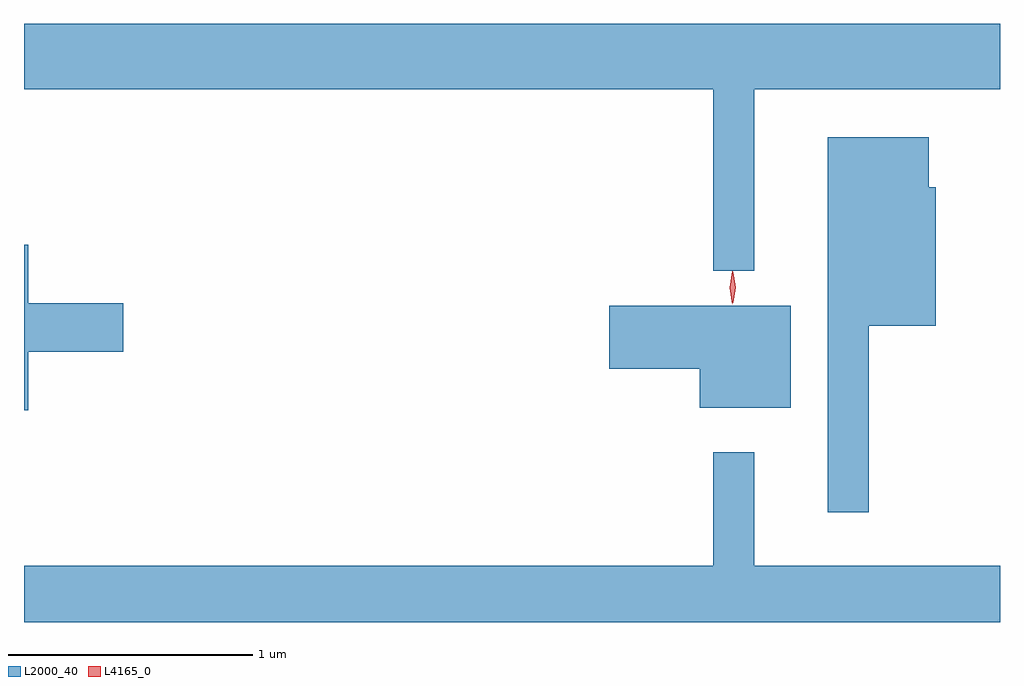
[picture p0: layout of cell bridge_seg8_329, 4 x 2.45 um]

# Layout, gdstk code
import gdstk
lib = gdstk.Library(unit=1e-6, precision=1e-09)
def P(c, l, *ps):  # polygons
    for p in ps: c.add(gdstk.Polygon(p, *l))
L2000_40 = (2000, 40)
L4165_0 = (4165, 0)

bridge_seg8_329 = lib.new_cell('bridge_seg8_329')
P(bridge_seg8_329, L2000_40, [(860.059,1931.876),(861.067,1931.876),(861.067,1932.144),(857.067,1932.144),(857.067,1931.876),(859.891,1931.876),(859.891,1931.133),(860.059,1931.133)],
  [(860.529,1930.906),(860.804,1930.906),(860.804,1931.474),(860.774,1931.474),(860.774,1931.679),(860.361,1931.679),(860.361,1930.143),(860.529,1930.143)],
  [(857.084,1930.801),(857.474,1930.801),(857.474,1930.999),(857.084,1930.999),(857.084,1931.239),(857.067,1931.239),(857.067,1930.561),(857.084,1930.561)],
  [(860.209,1930.989),(859.466,1930.989),(859.466,1930.731),(859.836,1930.731),(859.836,1930.571),(860.209,1930.571)],
  [(857.067,1929.692),(861.067,1929.692),(861.067,1929.924),(860.059,1929.924),(860.059,1930.388),(859.891,1930.388),(859.891,1929.924),(857.067,1929.924)])
P(bridge_seg8_329, L4165_0, [(859.969,1930.994),(859.969,1930.994),(859.96,1931.062),(859.97,1931.13),(859.971,1931.13),(859.971,1931.13),(859.98,1931.062),(859.97,1930.994)],
  [(859.972,1931),(859.963,1931.063),(859.972,1931.126),(859.973,1931.127),(859.974,1931.126),(859.983,1931.063),(859.974,1931),(859.973,1931)])

lib.write_gds('bridge_seg8_329.gds')
